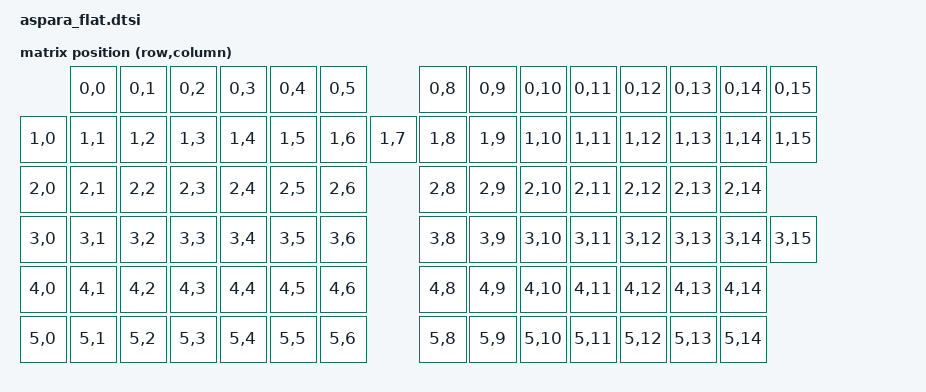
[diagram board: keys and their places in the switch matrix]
/*
 * Copyright (c) 2026
 *
 * SPDX-License-Identifier: MIT
 */

#include <zephyr/dt-bindings/gpio/gpio.h>
#include <zephyr/dt-bindings/led/led.h>
#include <zephyr/dt-bindings/pinctrl/nrf-pinctrl.h>
#include <dt-bindings/zmk/matrix_transform.h>
#include "aspara_flat-layouts.dtsi"

&physical_layout0 {
    transform = <&default_transform>;
    kscan = <&kscan0>;
};

/ {
    chosen {
        zmk,physical-layout = &physical_layout0;
        zmk,battery = &vbatt;
        zmk,indicator = &led_strip;
        zephyr,led-strip = &led_strip;
    };

    default_transform: keymap_transform_0 {
        compatible = "zmk,matrix-transform";
        rows = <6>;
        columns = <16>;
        map = <
                    RC(0,0) RC(0,1) RC(0,2) RC(0,3) RC(0,4) RC(0,5)            RC(0,8)  RC(0,9)  RC(0,10) RC(0,11) RC(0,12) RC(0,13) RC(0,14) RC(0,15)
            RC(1,0) RC(1,1) RC(1,2) RC(1,3) RC(1,4) RC(1,5) RC(1,6) RC(1,7)    RC(1,8)  RC(1,9)  RC(1,10) RC(1,11) RC(1,12) RC(1,13) RC(1,14) RC(1,15)
            RC(2,0) RC(2,1) RC(2,2) RC(2,3) RC(2,4) RC(2,5) RC(2,6)            RC(2,8)  RC(2,9)  RC(2,10) RC(2,11) RC(2,12) RC(2,13) RC(2,14)
            RC(3,0) RC(3,1) RC(3,2) RC(3,3) RC(3,4) RC(3,5) RC(3,6)            RC(3,8)  RC(3,9)  RC(3,10) RC(3,11) RC(3,12) RC(3,13) RC(3,14) RC(3,15)
            RC(4,0) RC(4,1) RC(4,2) RC(4,3) RC(4,4) RC(4,5) RC(4,6)            RC(4,8)  RC(4,9)  RC(4,10) RC(4,11) RC(4,12) RC(4,13) RC(4,14)
            RC(5,0) RC(5,1) RC(5,2) RC(5,3) RC(5,4) RC(5,5) RC(5,6)            RC(5,8)  RC(5,9)  RC(5,10) RC(5,11) RC(5,12) RC(5,13) RC(5,14)
        >;
    };

    kscan0: kscan {
        compatible = "zmk,kscan-gpio-matrix";
        wakeup-source;
        diode-direction = "col2row";
    };

    vbatt: vbatt {
        compatible = "zmk,battery-voltage-divider";
        io-channels = <&adc 6>;
        power-gpios = <&gpio0 31 (GPIO_OPEN_DRAIN | GPIO_ACTIVE_LOW)>;
        output-ohms = <1000000>;
        full-ohms = <(1000000 + 1000000)>;
    };

};

&pinctrl {
    spi3_default: spi3_default {
        group1 {
            psels = <NRF_PSEL(SPIM_MOSI, 0, 27)>;
        };
    };

    spi3_sleep: spi3_sleep {
        group1 {
            psels = <NRF_PSEL(SPIM_MOSI, 0, 27)>;
            low-power-enable;
        };
    };
};

&spi3 {
    compatible = "nordic,nrf-spim";
    status = "okay";

    pinctrl-0 = <&spi3_default>;
    pinctrl-1 = <&spi3_sleep>;
    pinctrl-names = "default", "sleep";

    led_strip: ws2812@0 {
        compatible = "worldsemi,ws2812-spi";

        reg = <0>;
        spi-max-frequency = <4000000>;

        chain-length = <1>;
        spi-one-frame = <0x70>;
        spi-zero-frame = <0x40>;
        color-mapping = <LED_COLOR_ID_GREEN LED_COLOR_ID_RED LED_COLOR_ID_BLUE>;
    };
};
